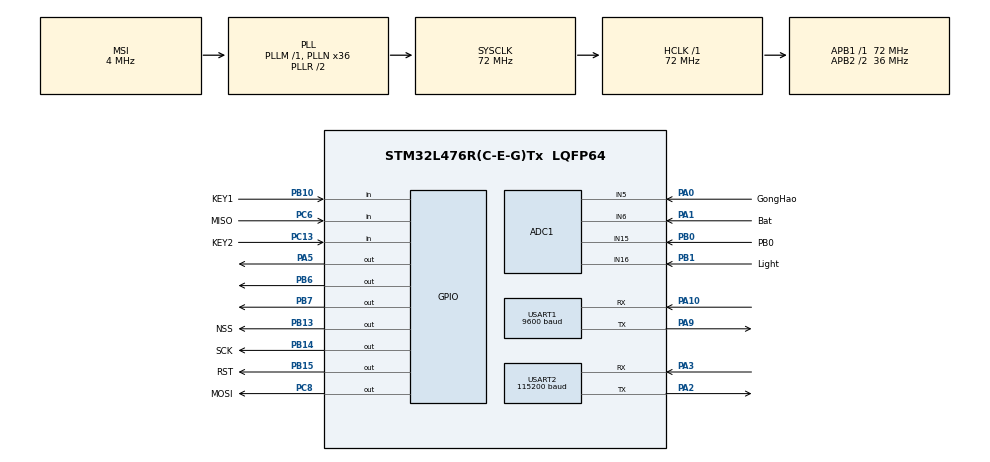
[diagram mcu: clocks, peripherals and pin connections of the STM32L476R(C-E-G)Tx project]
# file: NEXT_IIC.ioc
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ADC1.Channel-0\#ChannelRegularConversion=ADC_CHANNEL_5
ADC1.Channel-1\#ChannelRegularConversion=ADC_CHANNEL_6
ADC1.Channel-2\#ChannelRegularConversion=ADC_CHANNEL_16
ADC1.Channel-3\#ChannelRegularConversion=ADC_CHANNEL_15
ADC1.ContinuousConvMode=ENABLE
ADC1.DMAContinuousRequests=ENABLE
ADC1.NbrOfConversion=4
ADC1.NbrOfConversionFlag=1
ADC1.OffsetNumber-0\#ChannelRegularConversion=ADC_OFFSET_NONE
ADC1.OffsetNumber-1\#ChannelRegularConversion=ADC_OFFSET_NONE
ADC1.OffsetNumber-2\#ChannelRegularConversion=ADC_OFFSET_NONE
ADC1.OffsetNumber-3\#ChannelRegularConversion=ADC_OFFSET_NONE
ADC1.Rank-0\#ChannelRegularConversion=1
ADC1.Rank-1\#ChannelRegularConversion=2
ADC1.Rank-2\#ChannelRegularConversion=3
ADC1.Rank-3\#ChannelRegularConversion=4
ADC1.SamplingTime-0\#ChannelRegularConversion=ADC_SAMPLETIME_247CYCLES_5
ADC1.SamplingTime-1\#ChannelRegularConversion=ADC_SAMPLETIME_247CYCLES_5
ADC1.SamplingTime-2\#ChannelRegularConversion=ADC_SAMPLETIME_247CYCLES_5
ADC1.SamplingTime-3\#ChannelRegularConversion=ADC_SAMPLETIME_247CYCLES_5
ADC1.master=1
Dma.ADC1.0.Direction=DMA_PERIPH_TO_MEMORY
Dma.ADC1.0.Instance=DMA1_Channel1
Dma.ADC1.0.MemDataAlignment=DMA_MDATAALIGN_HALFWORD
Dma.ADC1.0.MemInc=DMA_MINC_ENABLE
Dma.ADC1.0.Mode=DMA_CIRCULAR
Dma.ADC1.0.PeriphDataAlignment=DMA_PDATAALIGN_HALFWORD
Dma.ADC1.0.PeriphInc=DMA_PINC_DISABLE
Dma.ADC1.0.Priority=DMA_PRIORITY_LOW
Dma.Request0=ADC1
Mcu.Family=STM32L4
Mcu.Name=STM32L476R(C-E-G)Tx
Mcu.Package=LQFP64
NVIC.DMA1_Channel1_IRQn=true\:0\:0\:false\:false\:true\:false\:true
NVIC.PriorityGroup=NVIC_PRIORITYGROUP_4
NVIC.TIM2_IRQn=true\:0\:0\:false\:false\:true\:true\:true
NVIC.USART1_IRQn=true\:0\:0\:false\:false\:true\:true\:true
PA0.GPIO_Label=GongHao
PA0.Signal=ADCx_IN5
PA1.GPIO_Label=Bat
PA1.Signal=ADCx_IN6
PA10.Mode=Asynchronous
PA10.Signal=USART1_RX
PA2.Mode=Asynchronous
PA2.Signal=USART2_TX
PA3.Mode=Asynchronous
PA3.Signal=USART2_RX
PA5.Signal=GPIO_Output
PA9.Mode=Asynchronous
PA9.Signal=USART1_TX
PB0.GPIO_Label=PB0
PB0.Signal=ADCx_IN15
PB1.GPIO_Label=Light
PB1.Signal=ADCx_IN16
PB10.GPIO_Label=KEY1
PB10.Signal=GPIO_Input
PB13.GPIO_Label=NSS
PB13.GPIO_PuPd=GPIO_PULLUP
PB13.PinState=GPIO_PIN_SET
PB13.Signal=GPIO_Output
PB14.GPIO_Label=SCK
PB14.GPIO_ModeDefaultOutputPP=GPIO_MODE_OUTPUT_PP
PB14.GPIO_PuPd=GPIO_NOPULL
PB14.PinState=GPIO_PIN_SET
PB14.Signal=GPIO_Output
PB15.GPIO_Label=RST
PB15.PinState=GPIO_PIN_SET
PB15.Signal=GPIO_Output
PB6.Signal=GPIO_Output
PB7.Signal=GPIO_Output
PC13.GPIO_Label=KEY2
PC13.Signal=GPIO_Input
PC6.GPIO_Label=MISO
PC6.GPIO_PuPd=GPIO_PULLUP
PC6.Signal=GPIO_Input
PC8.GPIO_Label=MOSI
PC8.PinState=GPIO_PIN_SET
PC8.Signal=GPIO_Output
PH0-OSC_IN\ (PH0).Mode=HSE-External-Oscillator
PH0-OSC_IN\ (PH0).Signal=RCC_OSC_IN
PH1-OSC_OUT\ (PH1).Mode=HSE-External-Oscillator
PH1-OSC_OUT\ (PH1).Signal=RCC_OSC_OUT
ProjectManager.HeapSize=0x200
ProjectManager.StackSize=0x400
ProjectManager.TargetToolchain=MDK-ARM V5
RCC.ADCFreq_Value=32000000
RCC.AHBFreq_Value=72000000
RCC.APB1Freq_Value=72000000
RCC.APB1TimFreq_Value=72000000
RCC.APB2CLKDivider=RCC_HCLK_DIV2
RCC.APB2Freq_Value=36000000
RCC.APB2TimFreq_Value=72000000
RCC.CortexFreq_Value=72000000
RCC.HCLKFreq_Value=72000000
RCC.HSE_VALUE=8000000
RCC.HSI_VALUE=16000000
RCC.LSE_VALUE=32768
RCC.MSI_VALUE=4000000
RCC.PLLN=36
RCC.PLLSAI1N=16
RCC.PREFETCH_ENABLE=1
RCC.SYSCLKFreq_VALUE=72000000
RCC.SYSCLKSource=RCC_SYSCLKSOURCE_PLLCLK
RCC.USBFreq_Value=32000000
RCC.VCOOutputFreq_Value=144000000
SH.ADCx_IN15.0=ADC1_IN15,IN15-Single-Ended
SH.ADCx_IN16.0=ADC1_IN16,IN16-Single-Ended
SH.ADCx_IN5.0=ADC1_IN5,IN5-Single-Ended
SH.ADCx_IN6.0=ADC1_IN6,IN6-Single-Ended
TIM2.Period=10-1
TIM2.Prescaler=7200-1
USART1.BaudRate=9600
USART1.VirtualMode-Asynchronous=VM_ASYNC
USART1.WordLength=WORDLENGTH_8B
USART2.BaudRate=115200
USART2.VirtualMode-Asynchronous=VM_ASYNC
USART2.WordLength=WORDLENGTH_8B
VP_TIM1_VS_ClockSourceINT.Mode=Internal
VP_TIM2_VS_ClockSourceINT.Mode=Internal
board=NEXT_IIC

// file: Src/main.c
/**
  ******************************************************************************
  * File Name          : main.c
  * Description        : Main program body
  ******************************************************************************
  ** This notice applies to any and all portions of this file
  * that are not between comment pairs USER CODE BEGIN and
  * USER CODE END. Other portions of this file, whether
  * inserted by the user or by software development tools
  * are owned by their respective copyright owners.
  *
  * COPYRIGHT(c) 2020 STMicroelectronics
  *
  * Redistribution and use in source and binary forms, with or without modification,
  * are permitted provided that the following conditions are met:
  *   1. Redistributions of source code must retain the above copyright notice,
  *      this list of conditions and the following disclaimer.
  *   2. Redistributions in binary form must reproduce the above copyright notice,
  *      this list of conditions and the following disclaimer in the documentation
  *      and/or other materials provided with the distribution.
  *   3. Neither the name of STMicroelectronics nor the names of its contributors
  *      may be used to endorse or promote products derived from this software
  *      without specific prior written permission.
  *
  * THIS SOFTWARE IS PROVIDED BY THE COPYRIGHT HOLDERS AND CONTRIBUTORS "AS IS"
  * AND ANY EXPRESS OR IMPLIED WARRANTIES, INCLUDING, BUT NOT LIMITED TO, THE
  * IMPLIED WARRANTIES OF MERCHANTABILITY AND FITNESS FOR A PARTICULAR PURPOSE ARE
  * DISCLAIMED. IN NO EVENT SHALL THE COPYRIGHT HOLDER OR CONTRIBUTORS BE LIABLE
  * FOR ANY DIRECT, INDIRECT, INCIDENTAL, SPECIAL, EXEMPLARY, OR CONSEQUENTIAL
  * DAMAGES (INCLUDING, BUT NOT LIMITED TO, PROCUREMENT OF SUBSTITUTE GOODS OR
  * SERVICES; LOSS OF USE, DATA, OR PROFITS; OR BUSINESS INTERRUPTION) HOWEVER
  * CAUSED AND ON ANY THEORY OF LIABILITY, WHETHER IN CONTRACT, STRICT LIABILITY,
  * OR TORT (INCLUDING NEGLIGENCE OR OTHERWISE) ARISING IN ANY WAY OUT OF THE USE
  * OF THIS SOFTWARE, EVEN IF ADVISED OF THE POSSIBILITY OF SUCH DAMAGE.
  *
  ******************************************************************************
  */

#include "main.h"
#include "stm32l4xx_hal.h"
#include "adc.h"
#include "dma.h"
#include "tim.h"
#include "usart.h"
#include "gpio.h"

/* USER CODE BEGIN Includes */
#include "I2C.h"
#include "bmp180.h"
#include "delay.h"
#include "stdint.h"
#include "dht11.h"
#include "I2C_2.h"
#include "GY30.h"
#include "mfrc.h"
#define PUTCHAR_PROTOTYPE int fputc(int ch, FILE *f)
/***********机智云**********/
#include "hal_key.h"
#include "gizwits_product.h"
#include "common.h"
/* USER CODE END Includes */

/* USER CODE BEGIN PV */

/* Private variables ---------------------------------------------------------*/

DHT11_Data_TypeDef dht11;	float GY_30_value;
	uint8_t UV_index;
//	uint8_t ID = 0;
  uint16_t ADC_Value[12];
	uint32_t ADC_UV;
  uint32_t MQ135_value;
//		unsigned int temp;
//		unsigned char g_ucTempbuf[16];
/***********射频卡变量*******/
unsigned char status,i;
unsigned char RFID_kind[2];//卡类型
unsigned char RFID_num[4]; //卡号
unsigned char shuaka_mark=0;
/***********射频卡语音允许变量*******/
unsigned char dingshi_mark=0;
/***********MQ135语音允许变量*******/
unsigned char alarm_mark=0;
/***********数据上传允许变量*******/
unsigned char transmit_mark=0;
/*********************语音触发数据*******************/
char yuyin1[]={0xAA,0x07,0x02,0x00,0x01,0xB4,'\0'};//药物错误 停止服药
char yuyin2[]={0xAA,0x07,0x02,0x00,0x02,0xB5,'\0'};//吃药时间提醒
char yuyin3[]={0xAA,0x07,0x02,0x00,0x03,0xB6,'\0'};//正在出药
char yuyin4[]={0xAA,0x07,0x02,0x00,0x04,0xB7,'\0'};//出药成功
char yuyin5[]={0xAA,0x07,0x02,0x00,0x05,0xB8,'\0'};//kaiji
char yuyin6[]={0xAA,0x07,0x02,0x00,0x06,0xB9,'\0'};//药物查询
char yuyin7[]={0xAA,0x07,0x02,0x00,0x07,0xBA,'\0'};//取药
/************机智云变量**********/
//TIM_HandleTypeDef htim2;
#define GPIO_KEY_NUM 2 ///< Defines the total number of key member
keyTypedef_t singleKey[GPIO_KEY_NUM]; ///< Defines a single key member array pointer
keysTypedef_t keys;
extern dataPoint_t  tDataPoint;
static void MX_NVIC_Init(void);
/* USER CODE END PV */

void SystemClock_Config(void);

/* USER CODE BEGIN PFP */
/* Private function prototypes -----------------------------------------------*/

/* USER CODE END PFP */

/* USER CODE BEGIN 0 */
/**
* key1 short press handle
* @param none
* @return none
*/
void key1ShortPress(void)
{
    GIZWITS_LOG("KEY1 PRESS ,Production Mode\n");
    gizwitsSetMode(WIFI_PRODUCTION_TEST);
}

/**
* key1 long press handle
* @param none
* @return none
*/
void key1LongPress(void)
{
    GIZWITS_LOG("KEY1 PRESS LONG ,Wifi Reset\n");
    gizwitsSetMode(WIFI_RESET_MODE);

}

/**
* key2 short press handle
* @param none
* @return none
*/
void key2ShortPress(void)
{
    GIZWITS_LOG("KEY2 PRESS ,Soft AP mode\n");
    #if !MODULE_TYPE
    gizwitsSetMode(WIFI_SOFTAP_MODE);
    #endif
}

/**
* key2 long press handle
* @param none
* @return none
*/
void key2LongPress(void)
{
    //AirLink mode
    GIZWITS_LOG("KEY2 PRESS LONG ,AirLink mode\n");
    #if !MODULE_TYPE
    gizwitsSetMode(WIFI_AIRLINK_MODE);
    #endif
}

/**
* Key init function
* @param none
* @return none
*/
void keyInit(void)
{
    singleKey[0] = keyInitOne(NULL, KEY1_GPIO_Port, KEY1_Pin, key1ShortPress, key1LongPress);
    singleKey[1] = keyInitOne(NULL, KEY2_GPIO_Port, KEY2_Pin, key2ShortPress, key2LongPress);
//		singleKey[1] = keyInitOne(KEY2_GPIO_Port, KEY2_Pin,key2ShortPress, key2LongPress);
    keys.singleKey = (keyTypedef_t *)&singleKey;
    keyParaInit(&keys);
}

void userHandle(void)
{
 /*
    currentDataPoint.valueUltraviolet_index = ;//Add Sensor Data Collection
    currentDataPoint.valuetemp_value = ;//Add Sensor Data Collection
    currentDataPoint.valuehumidity_value = ;//Add Sensor Data Collection
    currentDataPoint.valuelight_intensity = ;//Add Sensor Data Collection
    currentDataPoint.valueair_pressure = ;//Add Sensor Data Collection

    */

		static uint32_t cnt = 0;

		if((gizGetTimerCount()-cnt) > 2000) //每隔2000ms读取一次
		{
			if(transmit_mark == 1)
			{
			//    currentDataPoint.valueUltraviolet_index = ADC_UV;//Add Sensor Data Collection
					currentDataPoint.valueUltraviolet_index = 7;//Add Sensor Data Collection
					currentDataPoint.valuetemp_value = dht11.temperature;//Add Sensor Data Collection
					currentDataPoint.valuehumidity_value = dht11.humidity;//Add Sensor Data Collection
					currentDataPoint.valuelight_intensity = (int)GY_30_value;//Add Sensor Data Collection
					currentDataPoint.valueair_pressure = (bmp180.p+43000)/1000;//Add Sensor Data Collection
			}
			cnt = gizGetTimerCount();//更新计数值
			dingshi_mark = 0;//刷卡权限每2s开启一次 防止一直语音播报
			alarm_mark=0;//语音报警每2s开启一次  防止一直语音播报
		}
//		if((gizGetTimerCount()-cnt) > 5000) //每隔5000ms读取一次
//		{
//			alarm_mark=0;//语音报警每5s开启一次  防止一直语音播报
//		}
}
/* USER CODE END 0 */

int main(void)
{

  /* MCU Configuration----------------------------------------------------------*/

  /* Reset of all peripherals, Initializes the Flash interface and the Systick. */
  HAL_Init();

  /* Configure the system clock */
  SystemClock_Config();

  /* Initialize all configured peripherals */
  MX_GPIO_Init();
  MX_DMA_Init();
  MX_USART1_UART_Init();
  MX_TIM1_Init();
  MX_ADC1_Init();
  MX_USART2_UART_Init();
  MX_TIM2_Init();

  /* USER CODE BEGIN 2 */
	/***********机智云**********/
	MX_NVIC_Init();

  userInit();
  gizwitsInit();
  keyInit();

	timerInit();
  uartInit();
  GIZWITS_LOG("MCU Init Success \n");
	/***********机智云**********/
  /* USER CODE END 2 */

  /* Infinite loop */

  /* USER CODE BEGIN 3 */
  HAL_Init();
	MX_TIM1_Init();

	DHT11_Init(); // DHT11初始化（单总线）
	GY30_Int(); // GY30初始化（IIC）
	BMP_Init(); // BMP180初始化（IIC）
	BMP_ReadCalibrationData();//BMP180初始化（IIC）
	HAL_ADC_Start_DMA(&hadc1, (uint32_t*)ADC_Value, 12); // 开启DMA读取四路ADC
	HAL_GPIO_WritePin(GPIOA, LL_GPIO_PIN_7, GPIO_PIN_SET);//管教设置

		//  RFID初始化
		PcdReset();
		PcdAntennaOff(); //关闭天线
		PcdAntennaOn();  //开启天线
		M500PcdConfigISOType('A');  // 选择工作方式

 printf("开始寻卡... ...\r\n");

	while(1)
	{
		 userHandle();
     gizwitsHandle((dataPoint_t *)&currentDataPoint);
		/*********************************RFID身份识别************************/
		if(shuaka_mark == 0)//系统默认 shuaka_mark变量为0
		{
			status = PcdRequest(PICC_REQALL,RFID_kind);/*尋卡*/
			if(status==MI_OK)//尋卡成功
			{
				status=MI_ERR;
				status = PcdAnticoll(RFID_num);/*防冲撞*/
				if (status==MI_OK)//防衝撞成功
				{
					printf("%X and %X", RFID_num[0],RFID_num[1]);
						if(((RFID_num[0]==0x29)&&(RFID_num[1]==0x4d)))
						{
							if((RFID_num[0]==0x29)&&(RFID_num[1]==0x4d))
							{
								printf("语音1");
								HAL_UART_Transmit(&huart1,(unsigned char *)yuyin1,7,0xffff);
								shuaka_mark = 1;
								transmit_mark = 1;
							}

            }
						else
						{
							if(dingshi_mark == 0)
							{
								printf("语音2");
								HAL_UART_Transmit(&huart1,(unsigned char *)yuyin2,7,0xffff);
								dingshi_mark=1;
							}
						}
				 }
			  }
	   }
    /* （DHT11）读取温湿度信息 */
		DHT11_Read_TempAndHumidity(&dht11);

		/* （BMP180）读取大气压以及对应海拔 */
//		ID = BMP_ReadOneByte(0xd0);
		BMP_UncompemstatedToTrue();

		/* （adc）读取四路adc值 */
		ADC_UV = 0;
		MQ135_value =0;
		for(uint8_t i = 0 ;i < 12;)
		{
			/* （GY_30）读取紫外线 AD */
			ADC_UV += ADC_Value[i++];
			/* （GY_30）读取MQ135 AD */
			MQ135_value += ADC_Value[i++];
			i++;
			i++;
		}
		/**ADC1 GPIO Configuration
    PA0     ------> ADC1_IN5
    PA1     ------> ADC1_IN6
    PB0     ------> ADC1_IN15
    PB1     ------> ADC1_IN16
    */
		/* （GY_30）读取光强 */
		GY_30_value = GY30_GetLight();

//		printf(" ADC_功耗 value = %1.3fmA \r\n", (ADC_UV/3.0f));//ADC1 PA0
		/* 通过采集到的电压值计算紫外线等级 */
		ADC_UV = ADC_UV*3300/4096/3;

		if(ADC_UV<227) UV_index = 0;
		else if(ADC_UV<318) UV_index = 1;
		else if(ADC_UV<408) UV_index = 2;
		else if(ADC_UV<503) UV_index = 3;
		else if(ADC_UV<606) UV_index = 4;
		else if(ADC_UV<696) UV_index = 5;
		else if(ADC_UV<795) UV_index = 6;
		else if(ADC_UV<881) UV_index = 7;
		else if(ADC_UV<976) UV_index = 8;
		else if(ADC_UV<1079) UV_index = 9;
		else if(ADC_UV<1170) UV_index = 10;
		else UV_index = 11;
//测试rcc

		printf("temp = %.2f ; humi = %.2f\r\n",dht11.temperature,dht11.humidity); //打印温湿度信息
//
		printf("Pressure = %ldPa\t   Altitude = %.5fm\r\n", bmp180.p+43000,bmp180.altitude/10); // 打印大气压强以及对应的海拔

		printf("ADC_光强_value = %1.3f LUX \r\n", GY_30_value); // 打印光强
		printf(" 甲烷传感器读数 = %d \r\n", MQ135_value/3); // 甲烷传感器读数
		/*********************************甲烷超限报警************************/
		if(alarm_mark == 0)
		{
			if((MQ135_value/3)>3600)
			{
				HAL_UART_Transmit(&huart1,(unsigned char *)yuyin3,7,0xffff);
				alarm_mark = 1;
			}
	   }
//
//		printf(" ADC_紫外线_index = %d \r\n", UV_index); // 打印紫外线等级

//		HAL_GPIO_WritePin(GPIOA, LL_GPIO_PIN_5, GPIO_PIN_SET);

//		HAL_GPIO_WritePin(GPIOA, LL_GPIO_PIN_5, GPIO_PIN_SET);//提示系统正在运行
//		myDelay(500);
//		HAL_GPIO_WritePin(GPIOA, LL_GPIO_PIN_5, GPIO_PIN_RESET);
//		myDelay(500);
//		myDelay(10000);

	}
  /* USER CODE END 3 */

}

/** System Clock Configuration
*/
void SystemClock_Config(void)
{

  RCC_OscInitTypeDef RCC_OscInitStruct;
  RCC_ClkInitTypeDef RCC_ClkInitStruct;
  RCC_PeriphCLKInitTypeDef PeriphClkInit;

    /**Initializes the CPU, AHB and APB busses clocks
    */
  RCC_OscInitStruct.OscillatorType = RCC_OSCILLATORTYPE_MSI;
  RCC_OscInitStruct.MSIState = RCC_MSI_ON;
  RCC_OscInitStruct.MSICalibrationValue = 0;
  RCC_OscInitStruct.MSIClockRange = RCC_MSIRANGE_6;
  RCC_OscInitStruct.PLL.PLLState = RCC_PLL_ON;
  RCC_OscInitStruct.PLL.PLLSource = RCC_PLLSOURCE_MSI;
  RCC_OscInitStruct.PLL.PLLM = 1;
  RCC_OscInitStruct.PLL.PLLN = 36;
  RCC_OscInitStruct.PLL.PLLP = RCC_PLLP_DIV7;
  RCC_OscInitStruct.PLL.PLLQ = RCC_PLLQ_DIV2;
  RCC_OscInitStruct.PLL.PLLR = RCC_PLLR_DIV2;
  if (HAL_RCC_OscConfig(&RCC_OscInitStruct) != HAL_OK)
  {
    _Error_Handler(__FILE__, __LINE__);
  }

    /**Initializes the CPU, AHB and APB busses clocks
    */
  RCC_ClkInitStruct.ClockType = RCC_CLOCKTYPE_HCLK|RCC_CLOCKTYPE_SYSCLK
                              |RCC_CLOCKTYPE_PCLK1|RCC_CLOCKTYPE_PCLK2;
  RCC_ClkInitStruct.SYSCLKSource = RCC_SYSCLKSOURCE_PLLCLK;
  RCC_ClkInitStruct.AHBCLKDivider = RCC_SYSCLK_DIV1;
  RCC_ClkInitStruct.APB1CLKDivider = RCC_HCLK_DIV1;
  RCC_ClkInitStruct.APB2CLKDivider = RCC_HCLK_DIV2;

  if (HAL_RCC_ClockConfig(&RCC_ClkInitStruct, FLASH_LATENCY_3) != HAL_OK)
  {
    _Error_Handler(__FILE__, __LINE__);
  }

  PeriphClkInit.PeriphClockSelection = RCC_PERIPHCLK_USART1|RCC_PERIPHCLK_USART2
                              |RCC_PERIPHCLK_ADC;
  PeriphClkInit.Usart1ClockSelection = RCC_USART1CLKSOURCE_PCLK2;
  PeriphClkInit.Usart2ClockSelection = RCC_USART2CLKSOURCE_PCLK1;
  PeriphClkInit.AdcClockSelection = RCC_ADCCLKSOURCE_PLLSAI1;
  PeriphClkInit.PLLSAI1.PLLSAI1Source = RCC_PLLSOURCE_MSI;
  PeriphClkInit.PLLSAI1.PLLSAI1M = 1;
  PeriphClkInit.PLLSAI1.PLLSAI1N = 16;
  PeriphClkInit.PLLSAI1.PLLSAI1P = RCC_PLLP_DIV7;
  PeriphClkInit.PLLSAI1.PLLSAI1Q = RCC_PLLQ_DIV2;
  PeriphClkInit.PLLSAI1.PLLSAI1R = RCC_PLLR_DIV2;
  PeriphClkInit.PLLSAI1.PLLSAI1ClockOut = RCC_PLLSAI1_ADC1CLK;
  if (HAL_RCCEx_PeriphCLKConfig(&PeriphClkInit) != HAL_OK)
  {
    _Error_Handler(__FILE__, __LINE__);
  }

    /**Configure the main internal regulator output voltage
    */
  if (HAL_PWREx_ControlVoltageScaling(PWR_REGULATOR_VOLTAGE_SCALE1) != HAL_OK)
  {
    _Error_Handler(__FILE__, __LINE__);
  }

    /**Configure the Systick interrupt time
    */
  HAL_SYSTICK_Config(HAL_RCC_GetHCLKFreq()/1000);

    /**Configure the Systick
    */
  HAL_SYSTICK_CLKSourceConfig(SYSTICK_CLKSOURCE_HCLK);

  /* SysTick_IRQn interrupt configuration */
  HAL_NVIC_SetPriority(SysTick_IRQn, 0, 0);
}

/* USER CODE BEGIN 4 */
PUTCHAR_PROTOTYPE
{
  /* Place your implementation of fputc here */
  /* e.g. write a character to the USART1 and Loop until the end of transmission */
  HAL_UART_Transmit(&huart2,(uint8_t*)&ch, 1, 0xFFFF);

  return ch;
}
/** NVIC Configuration
*/
static void MX_NVIC_Init(void)
{
  /* TIM2_IRQn interrupt configuration */
  HAL_NVIC_SetPriority(TIM2_IRQn, 1, 0);
  HAL_NVIC_EnableIRQ(TIM2_IRQn);
  /* USART2_IRQn interrupt configuration */
  HAL_NVIC_SetPriority(USART2_IRQn, 0, 0);
  HAL_NVIC_EnableIRQ(USART2_IRQn);
}
//void HAL_TIM_PeriodElapsedCallback(TIM_HandleTypeDef *htim)
//{
//	if(htim==&htim2)
//	{
//			keyHandle((keysTypedef_t *)&keys);
//			gizTimerMs();
//	}
//}
/* USER CODE END 4 */

void _Error_Handler(char * file, int line)
{
  while(1)
  {
  }
}

/************************ (C) COPYRIGHT STMicroelectronics *****END OF FILE****/
